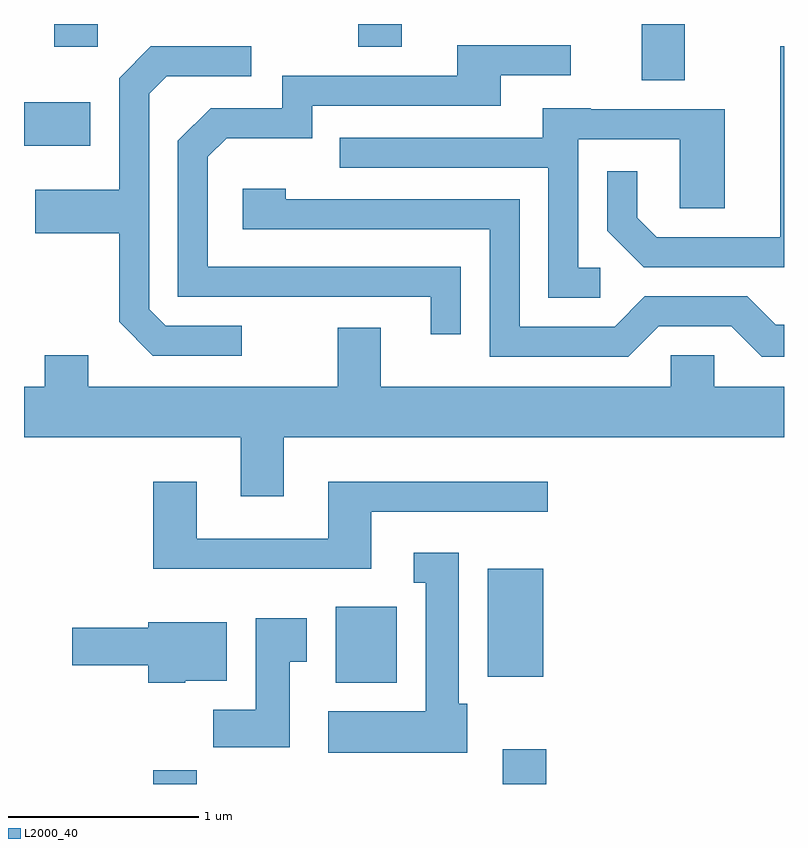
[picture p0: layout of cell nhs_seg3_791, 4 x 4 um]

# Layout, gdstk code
import gdstk
lib = gdstk.Library(unit=1e-6, precision=1e-09)
def R(c, l, rs):  # rectangles x0, y0, x1, y1
    for r in rs: c.add(gdstk.rectangle(r[:2], r[2:], *l))
def P(c, l, *ps):  # polygons
    for p in ps: c.add(gdstk.Polygon(p, *l))
L2000_40 = (2000, 40)

nhs_seg3_791 = lib.new_cell('nhs_seg3_791')
R(nhs_seg3_791, L2000_40, [(208.291,1201.892,208.519,1201.964), (210.131,1201.892,210.359,1202.074), (209.251,1202.426,209.574,1202.824), (210.051,1202.456,210.344,1203.024), (207.611,1205.251,207.959,1205.479), (210.861,1205.596,211.089,1205.892), (207.771,1205.771,207.999,1205.892), (209.371,1205.771,209.599,1205.892)])
P(nhs_seg3_791, L2000_40, [(209.909,1204.614),(208.579,1204.614),(208.579,1205.194),(208.677,1205.291),(209.129,1205.291),(209.129,1205.461),(210.119,1205.461),(210.119,1205.621),(210.488,1205.621),(210.488,1205.779),(209.891,1205.779),(209.891,1205.619),(208.971,1205.619),(208.971,1205.449),(208.594,1205.449),(208.421,1205.277),(208.421,1204.456),(209.751,1204.456),(209.751,1204.258),(209.909,1204.258)],
  [(211.611,1205.774),(211.591,1205.774),(211.591,1204.769),(210.942,1204.769),(210.839,1204.872),(210.839,1205.118),(210.681,1205.118),(210.681,1204.804),(210.874,1204.611),(211.611,1204.611)],
  [(208.758,1204.304),(208.357,1204.304),(208.269,1204.392),(208.269,1205.524),(208.362,1205.616),(208.808,1205.616),(208.808,1205.774),(208.279,1205.774),(208.111,1205.607),(208.111,1205.019),(207.671,1205.019),(207.671,1204.791),(208.111,1204.791),(208.111,1204.324),(208.289,1204.146),(208.758,1204.146)],
  [(210.643,1204.609),(210.529,1204.609),(210.529,1205.286),(211.061,1205.286),(211.061,1204.921),(211.299,1204.921),(211.299,1205.444),(210.595,1205.444),(210.595,1205.449),(210.341,1205.449),(210.341,1205.294),(209.273,1205.294),(209.273,1205.136),(210.371,1205.136),(210.371,1204.451),(210.643,1204.451)],
  [(210.952,1204.301),(211.334,1204.301),(211.494,1204.141),(211.611,1204.141),(211.611,1204.309),(211.567,1204.309),(211.417,1204.459),(210.879,1204.459),(210.719,1204.299),(210.219,1204.299),(210.219,1204.969),(208.989,1204.969),(208.989,1205.024),(208.761,1205.024),(208.761,1204.811),(210.061,1204.811),(210.061,1204.141),(210.792,1204.141)],
  [(208.979,1203.716),(211.611,1203.716),(211.611,1203.984),(211.244,1203.984),(211.244,1204.149),(211.016,1204.149),(211.016,1203.984),(209.489,1203.984),(209.489,1204.294),(209.261,1204.294),(209.261,1203.984),(207.949,1203.984),(207.949,1204.149),(207.721,1204.149),(207.721,1203.984),(207.611,1203.984),(207.611,1203.716),(208.751,1203.716),(208.751,1203.406),(208.979,1203.406)],
  [(209.439,1203.326),(210.368,1203.326),(210.368,1203.484),(209.211,1203.484),(209.211,1203.184),(208.519,1203.184),(208.519,1203.484),(208.291,1203.484),(208.291,1203.026),(209.439,1203.026)],
  [(209.944,1202.314),(209.899,1202.314),(209.899,1203.109),(209.663,1203.109),(209.663,1202.951),(209.726,1202.951),(209.726,1202.274),(209.211,1202.274),(209.211,1202.056),(209.944,1202.056)],
  [(209.009,1202.536),(209.099,1202.536),(209.099,1202.764),(208.831,1202.764),(208.831,1202.284),(208.606,1202.284),(208.606,1202.086),(209.009,1202.086)],
  [(208.46,1202.436),(208.679,1202.436),(208.679,1202.744),(208.266,1202.744),(208.266,1202.714),(207.866,1202.714),(207.866,1202.516),(208.266,1202.516),(208.266,1202.426),(208.46,1202.426)])

lib.write_gds('nhs_seg3_791.gds')
